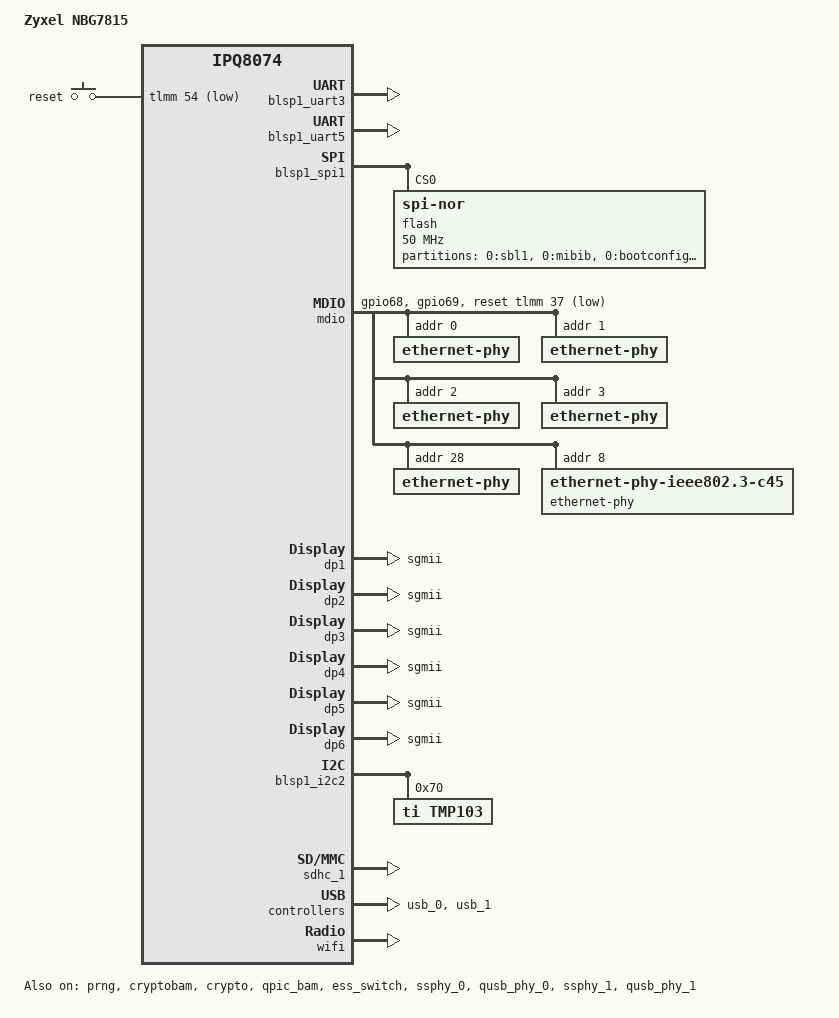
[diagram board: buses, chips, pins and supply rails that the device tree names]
// SPDX-License-Identifier: GPL-2.0-or-later OR MIT
/*
 * Copyright (c) 2022, Karol Przybylski <itor@o2.pl>
 * Copyright (c) 2023, Andre Valentin <avalentin@marcant.net>
 */

/dts-v1/;

#include "ipq8074.dtsi"
#include "ipq8074-hk-cpu.dtsi"
#include "ipq8074-ac-nss.dtsi"
#include <dt-bindings/gpio/gpio.h>
#include <dt-bindings/input/input.h>
#include <dt-bindings/leds/common.h>

/ {
	#address-cells = <2>;
	#size-cells = <2>;
	model = "Zyxel NBG7815";
	compatible = "zyxel,nbg7815", "qcom,ipq8074";

	aliases {
    sdhc1 = &sdhc_1; /* SDC1 eMMC slot */
		serial0 = &blsp1_uart5;
		serial1 = &blsp1_uart3;
		/* Alias as required by u-boot to patch MAC addresses */
		ethernet0 = &dp1;
		ethernet1 = &dp2;
		ethernet2 = &dp3;
		ethernet3 = &dp4;
		ethernet4 = &dp5;
		ethernet5 = &dp6;
		label-mac-device = &dp1;
	};

	chosen {
		stdout-path = "serial0:115200n8";
	};

	keys {
		compatible = "gpio-keys";

		reset {
			label = "reset";
			linux,code = <KEY_RESTART>;
			gpios = <&tlmm 54 GPIO_ACTIVE_LOW>;
		};
	};
};

&tlmm {
	mdio_pins: mdio-pins {
		mdc {
			pins = "gpio68";
			function = "mdc";
			drive-strength = <8>;
			bias-pull-up;
		};

		mdio {
			pins = "gpio69";
			function = "mdio";
			drive-strength = <8>;
			bias-pull-up;
		};
	};
};


&blsp1_uart3 {
	status = "okay";
};

&blsp1_uart5 {
	status = "okay";
};

&prng {
	status = "okay";
};

&cryptobam {
	status = "okay";
};

&crypto {
	status = "okay";
};

&qpic_bam {
	status = "okay";
};


&blsp1_spi1 {
	pinctrl-0 = <&spi_0_pins>;
	pinctrl-names = "default";
	cs-gpios = <0>;
	status = "okay";

	/*
	 * Bootloader will find the NAND DT node by the compatible and
	 * then "fixup" it by adding the partitions from the SMEM table
	 * using the legacy bindings thus making it impossible for us
	 * to change the partition table or utilize NVMEM for calibration.
	 * So add a dummy partitions node that bootloader will populate
	 * and set it as disabled so the kernel ignores it instead of
	 * printing warnings due to the broken way bootloader adds the
	 * partitions.
	 */
	partitions {
		status = "disabled";
	};


	flash@0 {
		#address-cells = <1>;
		#size-cells = <1>;
		reg = <0>;
		compatible = "jedec,spi-nor";
		spi-max-frequency = <50000000>;

		partitions {
			compatible = "fixed-partitions";
			#address-cells = <1>;
			#size-cells = <1>;

			partition@0 {
				label = "0:sbl1";
				reg = <0x0 0x50000>;
				read-only;
			};

			partition@50000 {
				label = "0:mibib";
				reg = <0x50000 0x10000>;
				read-only;
			};

			partition@60000 {
				label = "0:bootconfig";
				reg = <0x60000 0x20000>;
				read-only;
			};

			partition@80000 {
				label = "0:bootconfig1";
				reg = <0x80000 0x20000>;
				read-only;
			};

			partition@a0000 {
				label = "0:qsee";
				reg = <0xa0000 0x180000>;
				read-only;
			};

			partition@220000 {
				label = "0:qsee_1";
				reg = <0x220000 0x180000>;
				read-only;
			};

			partition@3a0000 {
				label = "0:devcfg";
				reg = <0x3a0000 0x10000>;
				read-only;
			};

			partition@3b0000 {
				label = "0:devcfg_1";
				reg = <0x3b0000 0x10000>;
				read-only;
			};

			partition@3c0000 {
				label = "0:apdp";
				reg = <0x3c0000 0x10000>;
				read-only;
			};

			partition@3d0000 {
				label = "0:apdp_1";
				reg = <0x3d0000 0x10000>;
				read-only;
			};

			partition@3e0000 {
				label = "0:rpm";
				reg = <0x3e0000 0x40000>;
				read-only;
			};

			partition@420000 {
				label = "0:rpm_1";
				reg = <0x420000 0x40000>;
				read-only;
			};

			partition@460000 {
				label = "0:cdt";
				reg = <0x460000 0x10000>;
				read-only;
			};

			partition@470000 {
				label = "0:cdt_1";
				reg = <0x470000 0x10000>;
				read-only;
			};

			partition@480000 {
				label = "0:appsbl";
				reg = <0x480000 0xc0000>;
				read-only;
			};

			partition@540000 {
				label = "0:appsbl_1";
				reg = <0x540000 0xc0000>;
				read-only;
			};

			partition@600000 {
				compatible = "u-boot,env";
				label = "0:appsblenv";
				reg = <0x600000 0x10000>;

				macaddr_lan: ethaddr {
				};
			};

			partition@610000 {
				label = "0:art";
				reg = <0x610000 0x40000>;
				read-only;
			};

			partition@650000 {
				label = "0:ethphyfw";
				reg = <0x650000 0x80000>;
				read-only;
			};

			partition@6d0000 {
				label = "0:crt";
				reg = <0x6d0000 0x10000>;
				read-only;
			};

			partition@6e0000 {
				label = "dual_flag";
				reg = <0x6e0000 0x10000>;
			};

			partition@6f0000 {
				label = "reserved";
				reg = <0x6f0000 0x110000>;
				read-only;
			};
		};
	};
};

&mdio {
	status = "okay";

	pinctrl-0 = <&mdio_pins>;
	pinctrl-names = "default";
	reset-gpios = <&tlmm 37 GPIO_ACTIVE_LOW>;

	ethernet-phy@0 {
		reg = <0>;
	};

	ethernet-phy@1 {
		reg = <1>;
	};

	ethernet-phy@2 {
		reg = <2>;
	};

	ethernet-phy@3 {
		reg = <3>;
	};
	
	ethernet-phy@28 {
		reg = <28>;
	};

	ethernet-phy@8 {
    compatible ="ethernet-phy-ieee802.3-c45";
		reg = <8>;
	};

};

&ess_switch {
	status = "okay";

	switch_cpu_bmp = <0x1>;  /* cpu port bitmap */
	switch_lan_bmp = <0x3e>; /* lan port bitmap */
	switch_wan_bmp = <0x40>; /* wan port bitmap */
	switch_mac_mode = <0x0>; /* mac mode for uniphy instance0*/
	switch_mac_mode1 = <0xf>; /* mac mode for uniphy instance1*/
	switch_mac_mode2 = <0xd>; /* mac mode for uniphy instance2*/
	bm_tick_mode = <0>; /* bm tick mode */
	tm_tick_mode = <0>; /* tm tick mode */

	qcom,port_phyinfo {
			port@0 {
				port_id = <1>;
				phy_address = <0>;
			};
			port@1 {
				port_id = <2>;
				phy_address = <1>;
			};
			port@2 {
				port_id = <3>;
				phy_address = <2>;
			};
			port@3 {
				port_id = <4>;
				phy_address = <3>;
			};
			port@4 {
				port_id = <5>;
				phy_address = <28>;
				port_mac_sel = "QGMAC_PORT";
			};
			port@5 {
				port_id = <6>;
				ethernet-phy-ieee802.3-c45;
				phy_address = <8>;
			};
		};

	port_scheduler_resource {
		port@0 {
			port_id = <0>;
			ucast_queue = <0 143>;
			mcast_queue = <256 271>;
			l0sp = <0 35>;
			l0cdrr = <0 47>;
			l0edrr = <0 47>;
			l1cdrr = <0 7>;
			l1edrr = <0 7>;
		};
		port@1 {
			port_id = <1>;
			ucast_queue = <144 159>;
			mcast_queue = <272 275>;
			l0sp = <36 39>;
			l0cdrr = <48 63>;
			l0edrr = <48 63>;
			l1cdrr = <8 11>;
			l1edrr = <8 11>;
		};
		port@2 {
			port_id = <2>;
			ucast_queue = <160 175>;
			mcast_queue = <276 279>;
			l0sp = <40 43>;
			l0cdrr = <64 79>;
			l0edrr = <64 79>;
			l1cdrr = <12 15>;
			l1edrr = <12 15>;
		};
		port@3 {
			port_id = <3>;
			ucast_queue = <176 191>;
			mcast_queue = <280 283>;
			l0sp = <44 47>;
			l0cdrr = <80 95>;
			l0edrr = <80 95>;
			l1cdrr = <16 19>;
			l1edrr = <16 19>;
		};
		port@4 {
			port_id = <4>;
			ucast_queue = <192 207>;
			mcast_queue = <284 287>;
			l0sp = <48 51>;
			l0cdrr = <96 111>;
			l0edrr = <96 111>;
			l1cdrr = <20 23>;
			l1edrr = <20 23>;
		};
		port@5 {
			port_id = <5>;
			ucast_queue = <208 223>;
			mcast_queue = <288 291>;
			l0sp = <52 55>;
			l0cdrr = <112 127>;
			l0edrr = <112 127>;
			l1cdrr = <24 27>;
			l1edrr = <24 27>;
		};
		port@6 {
			port_id = <6>;
			ucast_queue = <224 239>;
			mcast_queue = <292 295>;
			l0sp = <56 59>;
			l0cdrr = <128 143>;
			l0edrr = <128 143>;
			l1cdrr = <28 31>;
			l1edrr = <28 31>;
		};
		port@7 {
			port_id = <7>;
			ucast_queue = <240 255>;
			mcast_queue = <296 299>;
			l0sp = <60 63>;
			l0cdrr = <144 159>;
			l0edrr = <144 159>;
			l1cdrr = <32 35>;
			l1edrr = <32 35>;
		};
	};
	port_scheduler_config {
			port@0 {
				port_id = <0>;
				l1scheduler {
					group@0 {
						sp = <0 1>; /*L0 SPs*/
						/*cpri cdrr epri edrr*/
						cfg = <0 0 0 0>;
					};
				};
				l0scheduler {
					group@0 {
						/*unicast queues*/
						ucast_queue = <0 4 8>;
						/*multicast queues*/
						mcast_queue = <256 260>;
						/*sp cpri cdrr epri edrr*/
						cfg = <0 0 0 0 0>;
					};
					group@1 {
						ucast_queue = <1 5 9>;
						mcast_queue = <257 261>;
						cfg = <0 1 1 1 1>;
					};
					group@2 {
						ucast_queue = <2 6 10>;
						mcast_queue = <258 262>;
						cfg = <0 2 2 2 2>;
					};
					group@3 {
						ucast_queue = <3 7 11>;
						mcast_queue = <259 263>;
						cfg = <0 3 3 3 3>;
					};
				};
			};
			port@1 {
				port_id = <1>;
				l1scheduler {
					group@0 {
						sp = <36>;
						cfg = <0 8 0 8>;
					};
					group@1 {
						sp = <37>;
						cfg = <1 9 1 9>;
					};
				};
				l0scheduler {
					group@0 {
						ucast_queue = <144>;
						ucast_loop_pri = <16>;
						mcast_queue = <272>;
						mcast_loop_pri = <4>;
						cfg = <36 0 48 0 48>;
					};
				};
			};
			port@2 {
				port_id = <2>;
				l1scheduler {
					group@0 {
						sp = <40>;
						cfg = <0 12 0 12>;
					};
					group@1 {
						sp = <41>;
						cfg = <1 13 1 13>;
					};
				};
				l0scheduler {
					group@0 {
						ucast_queue = <160>;
						ucast_loop_pri = <16>;
						mcast_queue = <276>;
						mcast_loop_pri = <4>;
						cfg = <40 0 64 0 64>;
					};
				};
			};
			port@3 {
				port_id = <3>;
				l1scheduler {
					group@0 {
						sp = <44>;
						cfg = <0 16 0 16>;
					};
					group@1 {
						sp = <45>;
						cfg = <1 17 1 17>;
					};
				};
				l0scheduler {
					group@0 {
						ucast_queue = <176>;
						ucast_loop_pri = <16>;
						mcast_queue = <280>;
						mcast_loop_pri = <4>;
						cfg = <44 0 80 0 80>;
					};
				};
			};
			port@4 {
				port_id = <4>;
				l1scheduler {
					group@0 {
						sp = <48>;
						cfg = <0 20 0 20>;
					};
					group@1 {
						sp = <49>;
						cfg = <1 21 1 21>;
					};
				};
				l0scheduler {
					group@0 {
						ucast_queue = <192>;
						ucast_loop_pri = <16>;
						mcast_queue = <284>;
						mcast_loop_pri = <4>;
						cfg = <48 0 96 0 96>;
					};
				};
			};
			port@5 {
				port_id = <5>;
				l1scheduler {
					group@0 {
						sp = <52>;
						cfg = <0 24 0 24>;
					};
					group@1 {
						sp = <53>;
						cfg = <1 25 1 25>;
					};
				};
				l0scheduler {
					group@0 {
						ucast_queue = <208>;
						ucast_loop_pri = <16>;
						mcast_queue = <288>;
						mcast_loop_pri = <4>;
						cfg = <52 0 112 0 112>;
					};
				};
			};
			port@6 {
				port_id = <6>;
				l1scheduler {
					group@0 {
						sp = <56>;
						cfg = <0 28 0 28>;
					};
					group@1 {
						sp = <57>;
						cfg = <1 29 1 29>;
					};
				};
				l0scheduler {
					group@0 {
						ucast_queue = <224>;
						ucast_loop_pri = <16>;
						mcast_queue = <292>;
						mcast_loop_pri = <4>;
						cfg = <56 0 128 0 128>;
					};
				};
			};
			port@7 {
				port_id = <7>;
				l1scheduler {
					group@0 {
						sp = <60>;
						cfg = <0 32 0 32>;
					};
					group@1 {
						sp = <61>;
						cfg = <1 33 1 33>;
					};
				};
				l0scheduler {
					group@0 {
						ucast_queue = <240>;
						ucast_loop_pri = <16>;
						mcast_queue = <296>;
						cfg = <60 0 144 0 144>;
				};
			};
		};
	};
};

&soc {
	dp1: dp1 {
		device_type = "network";
		compatible = "qcom,nss-dp";
		qcom,id = <1>;
		reg = <0x3a001000 0x200>;
		qcom,mactype = <0>;
		local-mac-address = [000000000000];
		qcom,link-poll = <1>;
		qcom,phy-mdio-addr = <0>;
		phy-mode = "sgmii";
		mdio-bus = <&mdio>;
	};

	dp2: dp2 {
		device_type = "network";
		compatible = "qcom,nss-dp";
		qcom,id = <2>;
		reg = <0x3a001200 0x200>;
		qcom,mactype = <0>;
		local-mac-address = [000000000000];
		qcom,link-poll = <1>;
		qcom,phy-mdio-addr = <1>;
		phy-mode = "sgmii";
		mdio-bus = <&mdio>;
	};

	dp3: dp3 {
		device_type = "network";
		compatible = "qcom,nss-dp";
		qcom,id = <3>;
		reg = <0x3a001400 0x200>;
		qcom,mactype = <0>;
		local-mac-address = [000000000000];
		qcom,link-poll = <1>;
		qcom,phy-mdio-addr = <2>;
		phy-mode = "sgmii";
		mdio-bus = <&mdio>;
	};

	dp4: dp4 {
		device_type = "network";
		compatible = "qcom,nss-dp";
		qcom,id = <4>;
		reg = <0x3a001600 0x200>;
		qcom,mactype = <0>;
		local-mac-address = [000000000000];
		qcom,link-poll = <1>;
		qcom,phy-mdio-addr = <3>;
		phy-mode = "sgmii";
		mdio-bus = <&mdio>;
	};

	dp5: dp5 {
		device_type = "network";
		compatible = "qcom,nss-dp";
		qcom,id = <5>;
		reg = <0x3a001800 0x200>;
		qcom,mactype = <1>;
		local-mac-address = [000000000000];
		qcom,link-poll = <1>;
		qcom,phy-mdio-addr = <28>;
		phy-mode = "sgmii";
		mdio-bus = <&mdio>;
	};

	dp6: dp6 {
		device_type = "network";
		compatible = "qcom,nss-dp";
		qcom,id = <6>;
		reg = <0x3a007000 0x3fff>;
		qcom,mactype = <1>;
		local-mac-address = [000000000000];
		qcom,link-poll = <1>;
		qcom,phy-mdio-addr = <8>;
		phy-mode = "sgmii";
		mdio-bus = <&mdio>;
	};
};

&blsp1_i2c2 {
	pinctrl-0 = <&i2c_0_pins>;
	pinctrl-names = "default";
	status = "okay";

	tmp103@70 {
		compatible = "ti,tmp103";
		reg = <0x70>;
	};
};

&sdhc_1 {
	qcom,clk-rates = <400000 25000000 50000000 100000000 \
			 192000000 384000000>;
	qcom,bus-speed-mode = "HS200_1p8v", "DDR_1p8v";
	qcom,nonremovable;
	status = "ok";
};

&ssphy_0 {
	status = "okay";
};

&qusb_phy_0 {
	status = "okay";
};

&ssphy_1 {
	status = "okay";
};

&qusb_phy_1 {
	status = "okay";
};

&usb_0 {
	status = "okay";
};

&usb_1 {
	status = "okay";
};

&wifi {
	status = "okay";

	qcom,ath11k-calibration-variant = "Zyxel-NBG7815";
};
